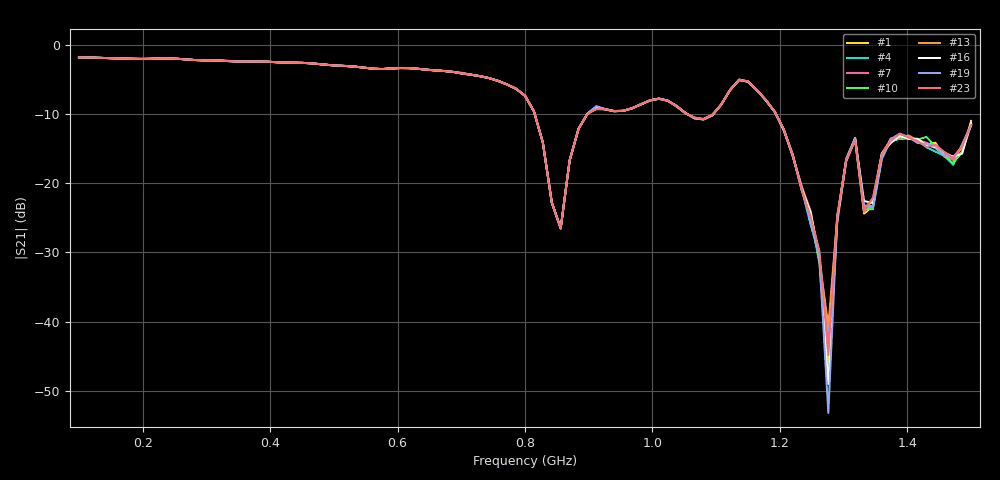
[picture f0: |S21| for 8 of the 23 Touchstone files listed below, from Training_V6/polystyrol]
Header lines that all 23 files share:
! NanoVNA-App
! Start: 100MHz Stop: 1,5GHz Points: 101
! S-Parameter data: F S11 S21 S12 S22
# Hz S RI R 50
!  Frequency  S11_Real  S11_Imag  S21_Real  S21_Imag  S12_Real  S12_Imag  S22_Real  S22_Imag
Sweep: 100 MHz to 1.5 GHz
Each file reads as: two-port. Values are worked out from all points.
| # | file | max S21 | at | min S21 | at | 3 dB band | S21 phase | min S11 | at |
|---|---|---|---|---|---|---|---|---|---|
| 1 | polystyrol (201).s2p | -1.80 dB | 100 MHz | -47.2 dB | 1.276 GHz | 100 MHz-730 MHz | 13 deg at 800 MHz | -39.1 dB | 128 MHz |
| 2 | polystyrol (202).s2p | -1.80 dB | 100 MHz | -41.7 dB | 1.276 GHz | 100 MHz-730 MHz | 13 deg at 800 MHz | -39.1 dB | 128 MHz |
| 3 | polystyrol (203).s2p | -1.80 dB | 100 MHz | -51.2 dB | 1.276 GHz | 100 MHz-730 MHz | 13 deg at 800 MHz | -39.1 dB | 128 MHz |
| 4 | polystyrol (204).s2p | -1.80 dB | 100 MHz | -41.8 dB | 1.276 GHz | 100 MHz-730 MHz | 13 deg at 800 MHz | -39.1 dB | 128 MHz |
| 5 | polystyrol (206).s2p | -1.80 dB | 100 MHz | -61.1 dB | 1.276 GHz | 100 MHz-730 MHz | 13 deg at 800 MHz | -39.1 dB | 128 MHz |
| 6 | polystyrol (207).s2p | -1.80 dB | 100 MHz | -41.0 dB | 1.276 GHz | 100 MHz-730 MHz | 13 deg at 800 MHz | -39.1 dB | 128 MHz |
| 7 | polystyrol (209).s2p | -1.80 dB | 100 MHz | -43.3 dB | 1.276 GHz | 100 MHz-730 MHz | 13 deg at 800 MHz | -39.1 dB | 128 MHz |
| 8 | polystyrol (213).s2p | -1.80 dB | 100 MHz | -43.1 dB | 1.276 GHz | 100 MHz-730 MHz | 13 deg at 800 MHz | -39.1 dB | 128 MHz |
| 9 | polystyrol (215).s2p | -1.80 dB | 100 MHz | -48.8 dB | 1.276 GHz | 100 MHz-730 MHz | 13 deg at 800 MHz | -39.1 dB | 128 MHz |
| 10 | polystyrol (216).s2p | -1.80 dB | 100 MHz | -48.4 dB | 1.276 GHz | 100 MHz-730 MHz | 13 deg at 800 MHz | -39.1 dB | 128 MHz |
| 11 | polystyrol (218).s2p | -1.80 dB | 100 MHz | -45.2 dB | 1.276 GHz | 100 MHz-730 MHz | 13 deg at 800 MHz | -39.1 dB | 128 MHz |
| 12 | polystyrol (219).s2p | -1.80 dB | 100 MHz | -41.3 dB | 1.276 GHz | 100 MHz-730 MHz | 13 deg at 800 MHz | -39.1 dB | 128 MHz |
| 13 | polystyrol (221).s2p | -1.80 dB | 100 MHz | -40.6 dB | 1.276 GHz | 100 MHz-730 MHz | 13 deg at 800 MHz | -39.1 dB | 128 MHz |
| 14 | polystyrol (222).s2p | -1.80 dB | 100 MHz | -45.1 dB | 1.276 GHz | 100 MHz-730 MHz | 13 deg at 800 MHz | -39.1 dB | 128 MHz |
| 15 | polystyrol (224).s2p | -1.80 dB | 100 MHz | -42.9 dB | 1.276 GHz | 100 MHz-730 MHz | 13 deg at 800 MHz | -39.1 dB | 128 MHz |
| 16 | polystyrol (225).s2p | -1.80 dB | 100 MHz | -49.0 dB | 1.276 GHz | 100 MHz-730 MHz | 13 deg at 800 MHz | -39.1 dB | 128 MHz |
| 17 | polystyrol (227).s2p | -1.80 dB | 100 MHz | -48.5 dB | 1.276 GHz | 100 MHz-730 MHz | 13 deg at 800 MHz | -39.1 dB | 128 MHz |
| 18 | polystyrol (229).s2p | -1.80 dB | 100 MHz | -39.8 dB | 1.276 GHz | 100 MHz-730 MHz | 13 deg at 800 MHz | -39.1 dB | 128 MHz |
| 19 | polystyrol (230).s2p | -1.80 dB | 100 MHz | -53.2 dB | 1.276 GHz | 100 MHz-730 MHz | 13 deg at 800 MHz | -39.1 dB | 128 MHz |
| 20 | polystyrol (233).s2p | -1.80 dB | 100 MHz | -42.5 dB | 1.276 GHz | 100 MHz-730 MHz | 13 deg at 800 MHz | -39.1 dB | 128 MHz |
| 21 | polystyrol (234).s2p | -1.80 dB | 100 MHz | -55.0 dB | 1.276 GHz | 100 MHz-730 MHz | 13 deg at 800 MHz | -39.1 dB | 128 MHz |
| 22 | polystyrol (235).s2p | -1.80 dB | 100 MHz | -41.3 dB | 1.276 GHz | 100 MHz-730 MHz | 13 deg at 800 MHz | -39.1 dB | 128 MHz |
| 23 | polystyrol (236).s2p | -1.80 dB | 100 MHz | -44.8 dB | 1.276 GHz | 100 MHz-730 MHz | 13 deg at 800 MHz | -39.1 dB | 128 MHz |
